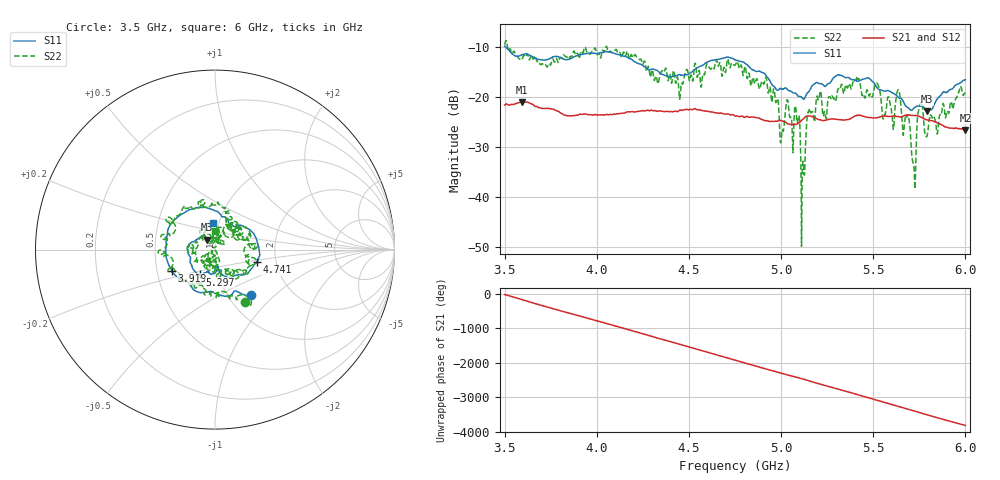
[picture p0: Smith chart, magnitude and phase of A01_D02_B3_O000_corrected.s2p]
! Created with skrf 1.9.0 (http://scikit-rf.org).
# Hz S RI R 50.0
!freq ReS11 ImS11 ReS21 ImS21 ReS12 ImS12 ReS22 ImS22
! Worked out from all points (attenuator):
!   1601 points, 3.5 GHz to 6 GHz, reference 50 ohm
!   highest |S21| = -20.96 dB at 3.592 GHz (marker M1); lowest = -26.5 dB at 6 GHz (marker M2)
!   lowest |S11| = -22.8 dB at 5.791 GHz (marker M3), VSWR 1.16, Z = 45.4 + j5.11 ohm
!   |S11| at or under -10 dB: 3.506 GHz to end of sweep
!   |S22| runs from -49.8 to -8.7 dB; largest |S21 - S12| = 0.0012
!   S11 on the Smith chart (normalised r, x): 3.5 GHz: 1.27, -0.72; 3.919 GHz: 0.60, -0.15; 4.741 GHz: 1.58, -0.23; 5.297 GHz: 0.81, -0.23; 6 GHz: 0.93, +0.28
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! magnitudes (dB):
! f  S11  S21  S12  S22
! 3.5 GHz  -9.8  -21.6  -21.6  -9.5
! 3.592 GHz  -11.6  -21.0  -21.0  -12.6
! 3.917 GHz  -11.5  -23.4  -23.4  -10.8
! 3.919 GHz  -11.5  -23.5  -23.4  -10.9
! 4.334 GHz  -14.9  -22.8  -22.7  -17.2
! 4.741 GHz  -12.3  -23.5  -23.5  -13.4
! 4.75 GHz  -12.6  -23.8  -23.7  -13.6
! 4.969 GHz  -18.2  -24.8  -24.8  -20.6
! 5.003 GHz  -18.4  -24.7  -24.7  -27.5
! 5.031 GHz  -18.4  -25.2  -25.1  -20.6
! 5.086 GHz  -19.5  -25.4  -25.4  -25.0
! 5.119 GHz  -20.3  -24.4  -24.3  -32.8
! 5.145 GHz  -19.1  -23.8  -23.7  -23.0
! 5.167 GHz  -17.8  -23.9  -23.8  -22.9
! 5.297 GHz  -15.8  -24.4  -24.4  -20.6
! 5.584 GHz  -18.7  -23.9  -23.8  -20.0
! 5.639 GHz  -20.2  -23.9  -23.9  -18.6
! 5.691 GHz  -22.2  -23.6  -23.5  -23.9
! 5.719 GHz  -22.3  -23.7  -23.6  -33.6
! 5.753 GHz  -21.8  -23.9  -23.8  -21.7
! 5.791 GHz  -22.8  -24.5  -24.5  -27.9
! 6 GHz  -16.5  -26.5  -26.4  -19.5
